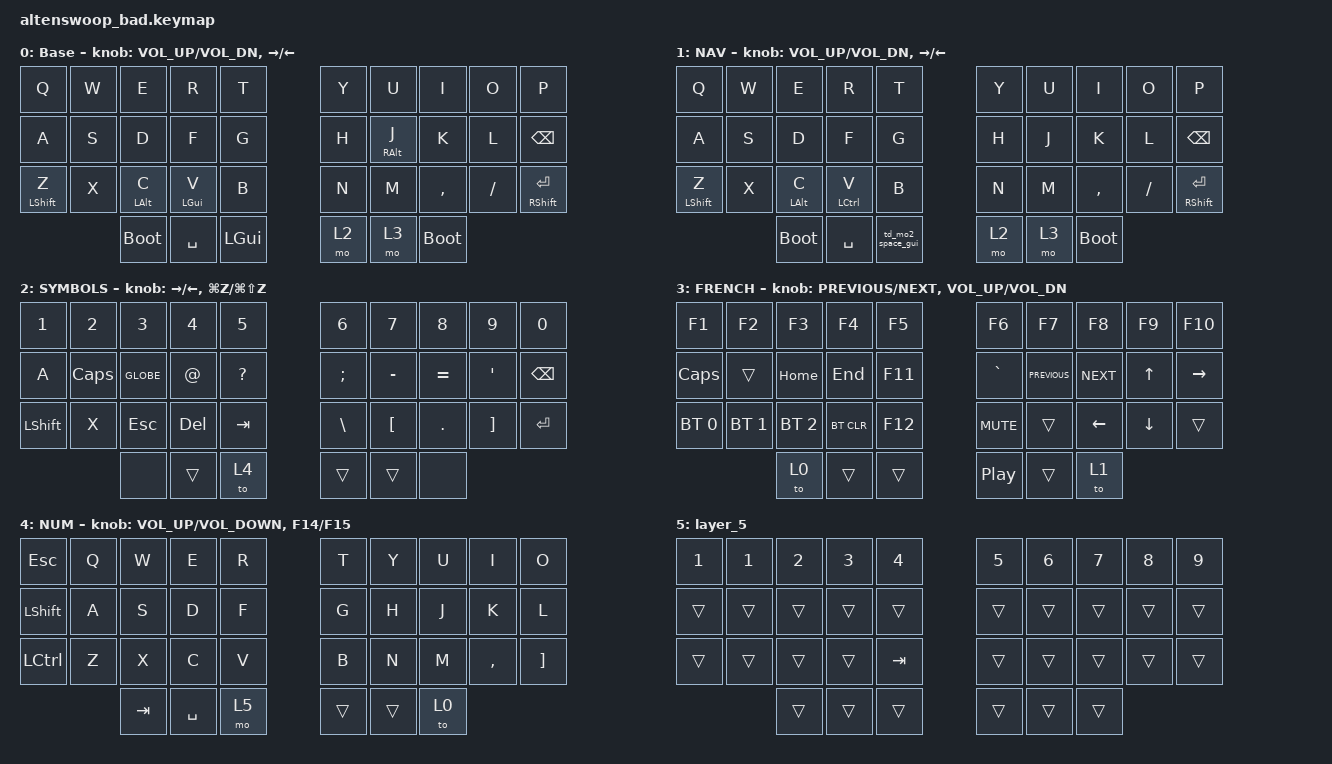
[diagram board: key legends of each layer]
/*
 * Copyright (c) 2020 duckyb
 *
 * SPDX-License-Identifier: MIT
 */

#include <behaviors.dtsi>
#include <dt-bindings/zmk/bt.h>
#include <dt-bindings/zmk/keys.h>

/ {
    behaviors {
        tab_esc_ctrl: tab_esc_ctrl {
            compatible = "zmk,behavior-tap-dance";
            label = "TAB_ESC_CTRL";
            #binding-cells = <0>;
            bindings = <&mt LCTRL ESC>, <&kp TAB>;
        };

        gqt: global-quick-tap {
            compatible = "zmk,behavior-hold-tap";
            label = "GLOBAL_QUICK_TAP";
            bindings = <&kp>, <&kp>;

            #binding-cells = <2>;
            quick-tap-ms = <180>;
            tapping-term-ms = <200>;
            global-quick-tap;
        };

        ltq: ltq {
            compatible = "zmk,behavior-hold-tap";
            label = "LTQ";
            bindings = <&mo>, <&kp>;

            #binding-cells = <2>;
            global-quick-tap;
            tapping-term-ms = <200>;
            quick-tap-ms = <180>;
        };

        ht: ht {
            compatible = "zmk,behavior-hold-tap";
            label = "HT";
            bindings = <&kp>, <&kp>;

            #binding-cells = <2>;
            tapping-term-ms = <200>;
            global-quick-tap;
            flavor = "tap-preferred";
            quick-tap-ms = <100>;
        };

        mtap: mtap {
            compatible = "zmk,behavior-hold-tap";
            label = "MTAP";
            bindings = <&mo>, <&kp>;

            #binding-cells = <2>;
            tapping-term-ms = <200>;
            quick-tap-ms = <100>;
            global-quick-tap;
            flavor = "tap-preferred";
        };

        td_mo2_space: td_mo2_space {
            compatible = "zmk,behavior-tap-dance";
            label = "TD_MO2_SPACE";
            #binding-cells = <0>;
            bindings = <&mo 2>, <&kp LCTRL>;
        };

        td_mo2_space_gui: td_mo2_space_gui {
            compatible = "zmk,behavior-tap-dance";
            label = "TD_MO2_SPACE_GUI";
            #binding-cells = <0>;
            bindings = <&mo 2>, <&kp LGUI>;
        };

        td_gf: td_gf {
            compatible = "zmk,behavior-tap-dance";
            label = "TD_GF";
            #binding-cells = <0>;
            bindings = <&kp G>, <&kp F>;
        };
    };

    combos {
        compatible = "zmk,combos";

        capslock {
            bindings = <&kp CAPSLOCK>;
            key-positions = <11 18>;
            layers = <0>;
        };

        shift_minus {
            bindings = <&kp UNDERSCORE>;
            key-positions = <15 17>;
        };

        plus {
            bindings = <&kp PLUS>;
            key-positions = <15 18>;
        };

        left_para {
            bindings = <&kp LPAR>;
            key-positions = <12 13>;
        };

        right_para {
            bindings = <&kp RPAR>;
            key-positions = <16 17>;
        };

        left_bkt {
            bindings = <&kp LBKT>;
            key-positions = <2 3>;
        };

        right_bkt {
            bindings = <&kp RBKT>;
            key-positions = <6 7>;
        };

        left_brc {
            bindings = <&kp LEFT_BRACE>;
            key-positions = <22 23>;
        };

        right_brc {
            bindings = <&kp RIGHT_BRACE>;
            key-positions = <26 27>;
        };

        tab {
            bindings = <&kp TAB>;
            key-positions = <10 11 12>;
        };

        less_than {
            bindings = <&kp LESS_THAN>;
            key-positions = <25 27>;
        };

        greater_than {
            bindings = <&kp GREATER_THAN>;
            key-positions = <25 28>;
        };

        backsplash {
            bindings = <&kp BACKSLASH>;
            key-positions = <4 5>;
        };

        pipe {
            bindings = <&kp PIPE>;
            key-positions = <14 15>;
        };

        tidle {
            bindings = <&kp TILDE>;
            key-positions = <5 6>;
        };

        grave {
            bindings = <&kp GRAVE>;
            key-positions = <3 4>;
        };

        semi {
            bindings = <&kp SEMICOLON>;
            key-positions = <16 17 18>;
        };

        sqt {
            bindings = <&kp SQT>;
            key-positions = <17 18>;
        };

        colon {
            bindings = <&kp COLON>;
            key-positions = <7 8 6>;
        };

        dqt {
            bindings = <&kp DOUBLE_QUOTES>;
            key-positions = <17 18 26>;
        };

        insert {
            bindings = <&kp INS>;
            key-positions = <0 1 8 9>;
        };
    };

    macros {
        m_a_grave: m_a_grave {
            compatible = "zmk,behavior-macro";
            label = "M_A_GRAVE";
            #binding-cells = <0>;
            bindings = <&kp LA(GRAVE) &kp A>;
        };

        m_a_caret: m_a_caret {
            compatible = "zmk,behavior-macro";
            label = "M_A_CARET";
            #binding-cells = <0>;
            bindings = <&kp LA(I) &kp A>;
        };

        m_e_cute: m_e_cute {
            compatible = "zmk,behavior-macro";
            label = "M_E_CUTE";
            #binding-cells = <0>;
            bindings = <&kp LA(E) &kp E>;
        };

        m_e_grave: m_e_grave {
            compatible = "zmk,behavior-macro";
            label = "M_E_GRAVE";
            #binding-cells = <0>;
            bindings = <&kp LA(GRAVE) &kp E>;
        };

        m_e_caret: m_e_caret {
            compatible = "zmk,behavior-macro";
            label = "M_E_CARET";
            #binding-cells = <0>;
            bindings = <&kp LA(I) &kp E>;
        };

        m_ou: m_ou {
            compatible = "zmk,behavior-macro";
            label = "M_OU";
            #binding-cells = <0>;
            bindings = <&kp O &kp LA(GRAVE) &kp U>;
        };

        m_u_caret: m_u_caret {
            compatible = "zmk,behavior-macro";
            label = "M_U_CARET";
            #binding-cells = <0>;
            bindings = <&kp LA(I) &kp U>;
        };

        m_o_caret: m_o_caret {
            compatible = "zmk,behavior-macro";
            label = "M_O_CARET";
            #binding-cells = <0>;
            bindings = <&kp LA(I) &kp O>;
        };

        m_paren_quote: m_paren_quote {
            compatible = "zmk,behavior-macro";
            label = "M_PAREN_QUOTE";
            #binding-cells = <0>;
            bindings = <&kp LEFT_PARENTHESIS &kp DOUBLE_QUOTES>;
        };

        m_lt_gt_left: m_lt_gt_left {
            compatible = "zmk,behavior-macro";
            label = "M_LT_GT_LEFT";
            #binding-cells = <0>;
            bindings = <&kp LESS_THAN &kp GREATER_THAN &kp LEFT>;
        };
    };

    keymap {
        compatible = "zmk,keymap";

        base {
            label = "Base";
            bindings = <
&kp Q        &kp W  &kp E           &kp R           &kp T           &kp Y  &kp U            &kp I        &kp O     &kp P
&kp A        &kp S  &kp D           &kp F           &kp G           &kp H  &ht RIGHT_ALT J  &kp K        &kp L     &kp BSPC
&ht LSHFT Z  &kp X  &ht LEFT_ALT C  &ht LEFT_GUI V  &kp B           &kp N  &kp M            &kp COMMA    &kp FSLH  &ht RSHIFT RET
                    &bootloader     &kp SPACE       &kp LEFT_GUI    &mo 2  &mo 3            &bootloader
            >;

            sensor-bindings =
                <&inc_dec_kp C_VOL_UP C_VOL_DN>,
                <&inc_dec_kp RIGHT_ARROW LEFT>;
        };

        navigation {
            label = "NAV";
            bindings = <
&kp Q             &kp W  &kp E           &kp R        &kp T                &kp Y  &kp U  &kp I        &kp O     &kp P
&kp A             &kp S  &kp D           &kp F        &kp G                &kp H  &kp J  &kp K        &kp L     &kp BSPC
&ht LEFT_SHIFT Z  &kp X  &ht LEFT_ALT C  &ht LCTRL V  &kp B                &kp N  &kp M  &kp COMMA    &kp FSLH  &ht RIGHT_SHIFT ENTER
                         &bootloader     &kp SPACE    &td_mo2_space_gui    &mo 2  &mo 3  &bootloader
            >;

            sensor-bindings =
                <&inc_dec_kp C_VOL_UP C_VOL_DN>,
                <&inc_dec_kp RIGHT LEFT>;
        };

        symbols {
            label = "SYMBOLS";
            bindings = <
&kp N1     &kp N2        &kp N3     &kp N4       &kp N5          &kp N6    &kp N7     &kp N8     &kp N9             &kp N0
&kp A      &kp CAPSLOCK  &kp GLOBE  &kp AT_SIGN  &kp QUESTION    &kp SEMI  &kp MINUS  &kp EQUAL  &kp SQT            &kp BSPC
&kp LSHFT  &kp X         &kp ESC    &kp DEL      &kp TAB         &kp BSLH  &kp LBKT   &kp DOT    &kp RIGHT_BRACKET  &kp RET
                         &none      &trans       &to 4           &trans    &trans     &none
            >;

            sensor-bindings =
                <&inc_dec_kp RIGHT LEFT>,
                <&inc_dec_kp LG(Z) LG(LS(Z))>;
        };

        french {
            label = "FRENCH";
            bindings = <
&kp F1        &kp F2        &kp F3        &kp F4      &kp F5     &kp F6      &kp F7          &kp F8      &kp F9    &kp F10
&kp CAPSLOCK  &trans        &kp HOME      &kp END     &kp F11    &kp GRAVE   &kp C_PREVIOUS  &kp C_NEXT  &kp UP    &kp RIGHT
&bt BT_SEL 0  &bt BT_SEL 1  &bt BT_SEL 2  &bt BT_CLR  &kp F12    &kp K_MUTE  &trans          &kp LEFT    &kp DOWN  &trans
                            &to 0         &trans      &trans     &kp C_PP    &trans          &to 1
            >;

            sensor-bindings =
                <&inc_dec_kp C_PREVIOUS C_NEXT>,
                <&inc_dec_kp C_VOL_UP C_VOL_DN>;
        };

        numpad {
            bindings = <
&kp ESC    &kp Q  &kp W    &kp E      &kp R    &kp T   &kp Y   &kp U  &kp I      &kp O
&kp LSHFT  &kp A  &kp S    &kp D      &kp F    &kp G   &kp H   &kp J  &kp K      &kp L
&kp LCTRL  &kp Z  &kp X    &kp C      &kp V    &kp B   &kp N   &kp M  &kp COMMA  &kp RBKT
                  &kp TAB  &kp SPACE  &mo 5    &trans  &trans  &to 0
            >;

            label = "NUM";
            sensor-bindings =
                <&inc_dec_kp C_VOL_UP C_VOLUME_DOWN>,
                <&inc_dec_kp F14 F15>;
        };

        layer_5 {
            bindings = <
&kp N1  &kp N1  &kp N2  &kp N3  &kp N4     &kp N5  &kp N6  &kp N7  &kp N8  &kp N9
&trans  &trans  &trans  &trans  &trans     &trans  &trans  &trans  &trans  &trans
&trans  &trans  &trans  &trans  &kp TAB    &trans  &trans  &trans  &trans  &trans
                &trans  &trans  &trans     &trans  &trans  &trans
            >;
        };
    };
};
